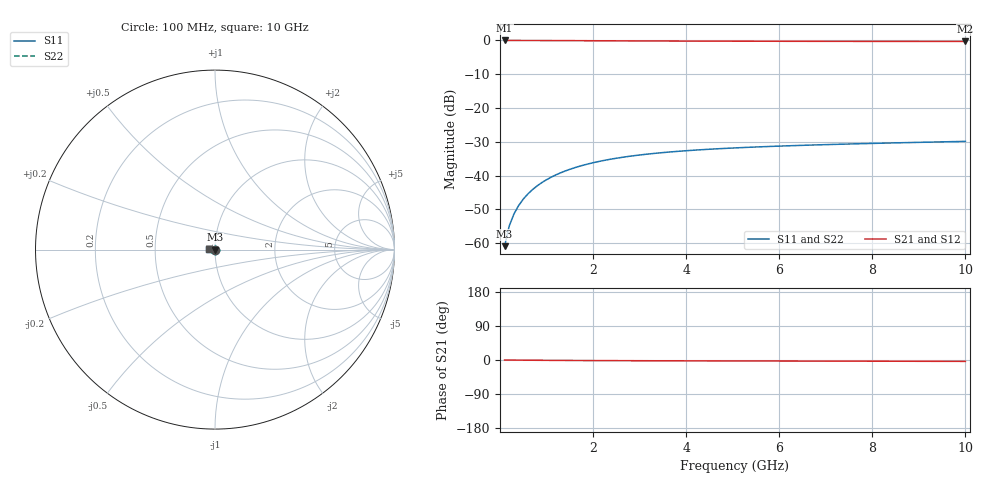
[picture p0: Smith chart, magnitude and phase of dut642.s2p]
! Touchstone file exported from HFSS 2024.1.0
!  File:  C:/UserFiles/LocalFiles/RDL_TSV_Batchsim/temp_TSV1_642_1779791267.aedt
!  Generated:  06:33:56 PM May 26, 2026
!  Design:  TSV1
!  Project:  temp_TSV1_642_1779791267
!  Setup:  Setup1
!  Solution:  Sweep
! Variables:
!  dtsv = 12.06um
!  hbump = 3um
!  htsv = 51.59um
!  lrdl = 252.1521522um
!  p = 40
!  p1 = 57.57um
!  t = 500um
!  trdl = 3um
!  wrdl = 24.89489489um
# GHz S MA R 50.000000
! Terminal data exported
! Port[1] = TSV22_T1
! Port[2] = TSV22_T2
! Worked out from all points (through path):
!   100 points, 100 MHz to 10 GHz, reference 50 ohm
!   highest |S21| = 0.00 dB at 100 MHz (marker M1); lowest = -0.3 dB at 10 GHz (marker M2)
!   lowest |S11| = -60.9 dB at 100 MHz (marker M3), VSWR 1.00, Z = 50 - j0.0902 ohm
!   |S11| at or under -10 dB: start of sweep to end of sweep
!   |S22| runs from -60.9 to -29.9 dB; largest |S21 - S12| = 4.1e-15
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0.1  0.0009027 -87.2  0.9999 -0.1  0.9999 -0.1  0.0009027 -87.2
! Gamma 0 0 0 0
! Port Impedance 50 0 50 0
0.2  0.001801 -91.5  0.9998 -0.2  0.9998 -0.2  0.001801 -91.5
0.3  0.002699 -94.3  0.9996 -0.3  0.9996 -0.3  0.002699 -94.3
0.4  0.003592 -96.7  0.9994 -0.4  0.9994 -0.4  0.003592 -96.7
0.5  0.004477 -99.0  0.9991 -0.5  0.9991 -0.5  0.004477 -99.0
0.6  0.00535 -101.2  0.9987 -0.5  0.9987 -0.5  0.00535 -101.2
0.7  0.006209 -103.3  0.9983 -0.6  0.9983 -0.6  0.006209 -103.3
0.8  0.007052 -105.4  0.9979 -0.7  0.9979 -0.7  0.007052 -105.4
0.9  0.007876 -107.4  0.9974 -0.8  0.9974 -0.8  0.007876 -107.4
1.1  0.009465 -111.3  0.9963 -0.9  0.9963 -0.9  0.009465 -111.3
1.4  0.01168 -116.9  0.9944 -1.1  0.9944 -1.1  0.01168 -116.9
1.6  0.01305 -120.4  0.9931 -1.3  0.9931 -1.3  0.01305 -120.4
1.8  0.01432 -123.8  0.9917 -1.4  0.9917 -1.4  0.01432 -123.8
2.1  0.01605 -128.5  0.9897 -1.5  0.9897 -1.5  0.01605 -128.5
2.5  0.01806 -134.3  0.9871 -1.7  0.9871 -1.7  0.01806 -134.3
2.9  0.01978 -139.6  0.9846 -1.9  0.9846 -1.9  0.01978 -139.6
3.4  0.02158 -145.5  0.9819 -2.0  0.9819 -2.0  0.02158 -145.5
4.2  0.02384 -153.5  0.9782 -2.3  0.9782 -2.3  0.02384 -153.5
5.1  0.02578 -161.2  0.9751 -2.5  0.9751 -2.5  0.02578 -161.2
6.7  0.02832 -172.1  0.9712 -2.9  0.9712 -2.9  0.02832 -172.1
8.4  0.03039 178.5  0.9685 -3.2  0.9685 -3.2  0.03039 178.5
10  0.03209 171.2  0.9668 -3.6  0.9668 -3.6  0.03209 171.2
